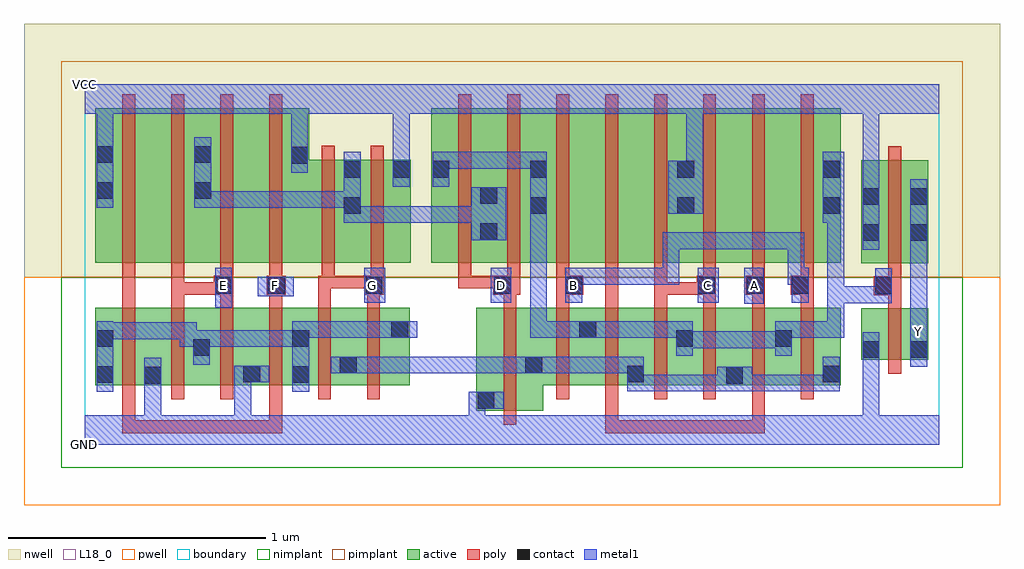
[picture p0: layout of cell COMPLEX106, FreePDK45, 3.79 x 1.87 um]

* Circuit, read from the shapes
.subckt COMPLEX106 A B C D E F G GND VCC Y
M1 GND F n1 VSUBS nfet w=0.3u l=0.05u m=2
M2 n1 E GND VSUBS nfet w=0.3u l=0.05u m=2
M3 n2 G n1 VSUBS nfet w=0.3u l=0.05u m=2
M4 n2 D GND VSUBS nfet w=0.4u l=0.05u
M5 n3 B n2 VSUBS nfet w=0.3u l=0.05u m=2
M6 n2 A n3 VSUBS nfet w=0.3u l=0.05u m=2
M7 n3 C n2 VSUBS nfet w=0.3u l=0.05u m=2
M8 Y n3 GND VSUBS nfet w=0.2u l=0.05u
M9 n4 F VCC n5 pfet w=0.6u l=0.05u
M10 n6 E n4 n5 pfet w=0.6u l=0.05u
M11 n7 E n6 n5 pfet w=0.6u l=0.05u
M12 VCC F n7 n5 pfet w=0.6u l=0.05u
M13 n6 G VCC n5 pfet w=0.4u l=0.05u m=2
M14 n6 D n3 n5 pfet w=0.6u l=0.05u m=2
M15 n8 B n3 n5 pfet w=0.6u l=0.05u
M16 n9 A n8 n5 pfet w=0.6u l=0.05u
M17 VCC C n9 n5 pfet w=0.6u l=0.05u
M18 n10 C VCC n5 pfet w=0.6u l=0.05u
M19 n11 A n10 n5 pfet w=0.6u l=0.05u
M20 n3 B n11 n5 pfet w=0.6u l=0.05u
M21 Y n3 VCC n5 pfet w=0.4u l=0.05u
.ends

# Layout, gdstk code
import gdstk
lib = gdstk.Library(unit=1e-6, precision=1e-09)
def R(c, l, rs):  # rectangles x0, y0, x1, y1
    for r in rs: c.add(gdstk.rectangle(r[:2], r[2:], *l))
def A(c, l, x, y, w, h, nx, ny, dx, dy):  # array of equal rectangles
    R(c, l, [(x+i*dx, y+j*dy, x+i*dx+w, y+j*dy+h) for i in range(nx) for j in range(ny)])
active = (1, 0)
pwell = (2, 0)
nwell = (3, 0)
nimplant = (4, 0)
pimplant = (5, 0)
poly = (9, 0)
contact = (10, 0)
metal1 = (11, 0)
L18_0 = (18, 0)
boundary = (235, 0)

complex106 = lib.new_cell('COMPLEX106')
R(complex106, active, [(1.522,0.132,1.782,0.532), (1.522,0.132,1.597,0.532), (1.707,0.2,1.782,0.405), (0.042,0.232,0.117,0.532), (0.042,0.232,0.302,0.532), (0.227,0.232,0.492,0.532), (0.227,0.232,0.302,0.437), (0.417,0.232,0.687,0.532), (0.417,0.232,0.492,0.517), (0.612,0.232,0.877,0.532), (0.612,0.232,0.687,0.437), (0.802,0.232,1.062,0.532), (0.987,0.232,1.262,0.532), (1.707,0.232,1.992,0.532), (1.917,0.232,2.177,0.532), (2.102,0.232,2.367,0.532), (2.102,0.232,2.177,0.437), (2.292,0.232,2.562,0.532), (2.487,0.232,2.752,0.532), (2.487,0.232,2.562,0.437), (2.677,0.232,2.937,0.532), (2.862,0.232,2.937,0.532), (0.802,0.235,0.877,0.45), (0.987,0.272,1.062,0.392), (1.187,0.295,1.262,0.532), (1.917,0.295,1.992,0.485), (2.292,0.295,2.367,0.517), (2.677,0.295,2.752,0.45), (3.017,0.33,3.277,0.53), (3.017,0.33,3.092,0.53), (3.202,0.332,3.277,0.53), (3.017,0.705,3.277,1.105), (3.017,0.705,3.092,1.105), (3.202,0.705,3.277,1.105), (0.042,0.707,0.267,1.307), (0.042,0.707,0.117,1.305), (0.267,0.707,0.497,1.307), (0.422,0.707,0.497,1.2), (0.422,0.707,0.647,1.307), (0.647,0.707,0.872,1.307), (0.797,0.707,1.077,1.107), (1.002,0.707,1.077,1.107), (1.002,0.707,1.267,1.107), (1.347,0.707,1.422,1.2), (1.347,0.707,1.607,1.307), (1.532,0.707,1.8,1.307), (1.532,0.707,1.607,1.07), (1.725,0.707,1.8,1.2), (1.725,0.707,1.952,1.307), (1.952,0.707,2.142,1.307), (2.142,0.707,2.372,1.307), (2.297,0.707,2.522,1.307), (2.297,0.707,2.372,1.305), (2.522,0.707,2.712,1.307), (2.712,0.707,2.937,1.307), (2.862,0.707,2.937,1.2), (1.192,0.722,1.267,1.107), (0.797,0.907,0.872,1.307)])
R(complex106, pwell, [(-0.235,-0.235,3.555,0.65)])
R(complex106, nwell, [(-0.235,0.65,3.555,1.635)])
R(complex106, nimplant, [(-0.09,-0.09,3.41,0.65)])
R(complex106, pimplant, [(-0.09,0.65,3.41,1.49)])
A(complex106, poly, 0.147, 0.177, 0.05, 0.41, 6, 1, 0.19, 0)
A(complex106, poly, 1.832, 0.177, 0.05, 0.41, 6, 1, 0.19, 0)
A(complex106, poly, 0.337, 0.537, 0.05, 0.095, 3, 1, 0.19, 0)
A(complex106, poly, 1.832, 0.537, 0.05, 0.095, 6, 1, 0.19, 0)
A(complex106, poly, 1.452, 0.607, 0.05, 0.095, 3, 1, 0.19, 0)
A(complex106, poly, 2.402, 0.607, 0.05, 0.095, 3, 1, 0.19, 0)
A(complex106, poly, 0.147, 0.652, 0.05, 0.71, 4, 1, 0.19, 0)
A(complex106, poly, 1.452, 0.652, 0.05, 0.71, 8, 1, 0.19, 0)
R(complex106, poly, [(0.147,0.045,0.197,0.227), (0.147,0.045,0.197,0.095), (0.147,0.045,0.197,0.095), (0.147,0.045,0.197,0.095), (0.147,0.045,0.387,0.095), (0.337,0.045,0.387,0.095), (0.337,0.045,0.387,0.095), (0.337,0.045,0.387,0.095), (0.337,0.045,0.52,0.095), (0.47,0.045,0.52,0.095), (0.47,0.045,0.52,0.095), (0.47,0.045,0.52,0.095), (0.47,0.045,0.767,0.095), (0.717,0.045,0.767,0.227), (0.717,0.045,0.767,0.095), (2.022,0.045,2.072,0.227), (2.022,0.045,2.072,0.095), (2.022,0.045,2.072,0.095), (2.022,0.045,2.072,0.095), (2.022,0.045,2.295,0.095), (2.245,0.045,2.295,0.095), (2.245,0.045,2.295,0.095), (2.245,0.045,2.295,0.095), (2.245,0.045,2.485,0.095), (2.435,0.045,2.485,0.095), (2.435,0.045,2.642,0.095), (2.592,0.045,2.642,0.227), (2.592,0.045,2.642,0.095), (2.592,0.045,2.642,0.095), (2.592,0.045,2.642,0.095), (1.627,0.077,1.677,0.587), (3.122,0.275,3.172,0.585), (3.122,0.535,3.172,0.63), (0.147,0.537,0.197,0.657), (0.907,0.537,0.957,0.657), (1.097,0.537,1.147,0.632), (1.627,0.537,1.677,0.632), (3.065,0.58,3.172,0.655), (0.337,0.582,0.387,0.632), (0.337,0.582,0.387,0.632), (0.337,0.582,0.387,0.632), (0.337,0.582,0.552,0.632), (0.337,0.582,0.387,0.702), (0.502,0.582,0.577,0.657), (0.707,0.582,0.782,0.657), (1.087,0.582,1.162,0.657), (1.587,0.582,1.692,0.657), (1.832,0.582,1.937,0.657), (2.022,0.582,2.072,0.632), (2.022,0.582,2.072,0.702), (2.212,0.582,2.262,0.632), (2.212,0.582,2.262,0.632), (2.212,0.582,2.262,0.632), (2.212,0.582,2.427,0.632), (2.212,0.582,2.262,0.702), (2.377,0.582,2.452,0.657), (2.567,0.582,2.642,0.657), (2.742,0.582,2.832,0.657), (3.122,0.605,3.172,0.7), (0.147,0.607,0.197,0.702), (0.147,0.607,0.197,0.657), (0.527,0.607,0.577,0.702), (0.717,0.607,0.767,0.702), (0.907,0.607,0.972,0.657), (0.922,0.607,0.972,0.702), (0.922,0.607,0.972,0.657), (0.922,0.607,0.972,0.657), (0.922,0.607,1.137,0.657), (1.112,0.607,1.162,0.702), (1.452,0.607,1.502,0.657), (1.452,0.607,1.502,0.657), (1.452,0.607,1.502,0.657), (1.452,0.607,1.637,0.657), (3.122,0.65,3.172,1.16), (0.922,0.652,0.972,1.162), (1.112,0.652,1.162,1.162)])
R(complex106, contact, [(1.527,0.14,1.592,0.205), (0.232,0.237,0.297,0.302), (2.492,0.237,2.557,0.302), (0.047,0.24,0.112,0.305), (0.807,0.24,0.872,0.305), (0.617,0.242,0.682,0.307), (2.107,0.242,2.172,0.307), (2.867,0.242,2.932,0.307), (0.992,0.277,1.057,0.342), (1.712,0.277,1.777,0.342), (3.022,0.337,3.087,0.402), (3.207,0.337,3.272,0.402), (0.422,0.345,0.487,0.41), (0.047,0.38,0.112,0.445), (0.807,0.38,0.872,0.445), (2.297,0.38,2.362,0.445), (2.682,0.38,2.747,0.445), (1.192,0.415,1.257,0.48), (1.922,0.415,1.987,0.48), (3.07,0.585,3.135,0.65), (0.507,0.587,0.572,0.652), (0.712,0.587,0.777,0.652), (1.092,0.587,1.157,0.652), (1.592,0.587,1.657,0.652), (1.867,0.587,1.932,0.652), (2.382,0.587,2.447,0.652), (2.572,0.587,2.637,0.652), (2.747,0.587,2.812,0.652), (3.022,0.792,3.087,0.857), (3.207,0.792,3.272,0.857), (1.537,0.795,1.602,0.86), (1.007,0.897,1.072,0.962), (1.73,0.897,1.795,0.962), (2.302,0.897,2.367,0.962), (2.867,0.897,2.932,0.962), (3.022,0.932,3.087,0.997), (3.207,0.932,3.272,0.997), (1.537,0.935,1.602,1), (0.047,0.955,0.112,1.02), (0.427,0.955,0.492,1.02), (1.007,1.037,1.072,1.102), (1.197,1.037,1.262,1.102), (1.352,1.037,1.417,1.102), (1.73,1.037,1.795,1.102), (2.302,1.037,2.367,1.102), (2.867,1.037,2.932,1.102), (0.802,1.092,0.867,1.157), (0.047,1.095,0.112,1.16), (0.427,1.095,0.492,1.16)])
R(complex106, metal1, [(0,0,3.32,0.115), (0.232,0.05,0.297,0.115), (0.232,0.05,0.297,0.115), (0.232,0.05,0.297,0.115), (0.232,0.05,0.297,0.115), (0.232,0.05,0.297,0.267), (0.582,0.05,0.647,0.115), (0.582,0.05,0.647,0.115), (0.582,0.05,0.647,0.307), (1.492,0.05,1.557,0.115), (1.492,0.05,1.557,0.115), (1.492,0.05,1.557,0.205), (3.022,0.05,3.087,0.367), (1.492,0.14,1.627,0.205), (0.232,0.202,0.297,0.337), (0.047,0.205,0.112,0.48), (0.807,0.205,0.872,0.48), (2.107,0.207,2.172,0.342), (2.107,0.207,2.31,0.272), (2.245,0.207,2.31,0.272), (2.245,0.207,2.31,0.272), (2.245,0.207,2.31,0.272), (2.245,0.207,2.447,0.272), (2.382,0.207,2.447,0.272), (2.382,0.207,2.522,0.272), (2.457,0.207,2.592,0.302), (2.527,0.207,2.592,0.272), (2.527,0.207,2.592,0.272), (2.527,0.207,2.795,0.272), (2.73,0.207,2.795,0.272), (2.73,0.207,2.795,0.272), (2.73,0.207,2.795,0.272), (2.73,0.207,2.932,0.272), (2.867,0.207,2.932,0.342), (0.582,0.242,0.647,0.307), (0.582,0.242,0.647,0.307), (0.582,0.242,0.717,0.307), (0.957,0.277,1.092,0.342), (1.027,0.277,1.28,0.342), (1.215,0.277,1.28,0.342), (1.215,0.277,1.28,0.342), (1.215,0.277,1.28,0.342), (1.215,0.277,1.417,0.342), (1.352,0.277,1.417,0.342), (1.352,0.277,1.417,0.342), (1.352,0.277,1.417,0.342), (1.352,0.277,1.605,0.342), (1.54,0.277,1.605,0.342), (1.54,0.277,1.605,0.342), (1.54,0.277,1.605,0.342), (1.54,0.277,1.742,0.342), (1.677,0.277,1.812,0.342), (1.747,0.277,1.812,0.342), (1.747,0.277,1.812,0.342), (1.747,0.277,1.95,0.342), (1.885,0.277,1.95,0.342), (1.885,0.277,2.09,0.342), (2.025,0.277,2.09,0.342), (2.025,0.277,2.172,0.342), (3.022,0.302,3.087,0.367), (3.022,0.302,3.087,0.367), (3.022,0.302,3.087,0.367), (3.022,0.302,3.087,0.367), (3.022,0.302,3.087,0.367), (3.022,0.302,3.087,0.367), (3.022,0.302,3.087,0.437), (3.207,0.302,3.272,0.437), (0.422,0.31,0.487,0.445), (2.297,0.345,2.362,0.48), (2.682,0.345,2.747,0.48), (3.207,0.372,3.272,0.437), (3.207,0.372,3.272,0.507), (2.297,0.375,2.447,0.44), (2.382,0.375,2.447,0.44), (2.382,0.375,2.6,0.44), (2.535,0.375,2.6,0.44), (2.535,0.375,2.6,0.44), (2.535,0.375,2.6,0.44), (2.535,0.375,2.747,0.44), (0.37,0.38,0.487,0.445), (0.37,0.38,0.435,0.475), (0.422,0.38,0.572,0.445), (0.507,0.38,0.572,0.445), (0.507,0.38,0.73,0.445), (0.665,0.38,0.73,0.445), (0.665,0.38,0.73,0.445), (0.665,0.38,0.73,0.445), (0.665,0.38,0.872,0.445), (0.047,0.41,0.112,0.475), (0.047,0.41,0.112,0.475), (0.047,0.41,0.35,0.475), (0.285,0.41,0.35,0.475), (0.285,0.41,0.435,0.475), (0.807,0.415,0.935,0.48), (0.87,0.415,0.935,0.48), (0.87,0.415,1.072,0.48), (1.007,0.415,1.072,0.48), (1.007,0.415,1.072,0.48), (1.007,0.415,1.072,0.48), (1.007,0.415,1.222,0.48), (1.157,0.415,1.292,0.48), (1.73,0.415,1.795,0.48), (1.73,0.415,1.795,0.48), (1.73,0.415,1.795,0.48), (1.73,0.415,1.952,0.48), (1.73,0.415,1.795,0.927), (1.887,0.415,1.952,0.48), (1.887,0.415,1.952,0.48), (1.887,0.415,2.022,0.48), (1.957,0.415,2.09,0.48), (2.025,0.415,2.09,0.48), (2.025,0.415,2.172,0.48), (2.107,0.415,2.172,0.48), (2.107,0.415,2.227,0.48), (2.162,0.415,2.227,0.48), (2.162,0.415,2.362,0.48), (2.682,0.415,2.775,0.48), (2.71,0.415,2.775,0.48), (2.71,0.415,2.95,0.48), (2.885,0.415,2.95,0.48), (2.885,0.415,2.95,0.615), (3.207,0.442,3.272,0.822), (0.507,0.532,0.572,0.687), (2.562,0.547,2.637,0.687), (2.885,0.55,2.95,0.615), (2.885,0.55,2.95,0.615), (2.885,0.55,2.95,0.615), (2.885,0.55,3.135,0.615), (2.885,0.55,2.95,0.927), (3.07,0.55,3.135,0.685), (1.087,0.552,1.167,0.687), (1.577,0.552,1.657,0.687), (1.867,0.552,1.932,0.687), (2.382,0.552,2.462,0.687), (2.747,0.552,2.812,0.687), (0.672,0.577,0.812,0.652), (1.867,0.622,1.95,0.687), (1.885,0.622,1.95,0.687), (1.885,0.622,2.09,0.687), (2.025,0.622,2.09,0.687), (2.025,0.622,2.16,0.687), (2.095,0.622,2.16,0.687), (2.095,0.622,2.31,0.687), (2.245,0.622,2.31,0.687), (2.245,0.622,2.31,0.687), (2.245,0.622,2.31,0.687), (2.245,0.622,2.31,0.825), (2.73,0.622,2.795,0.687), (2.73,0.622,2.812,0.687), (2.73,0.622,2.795,0.825), (3.022,0.757,3.087,1.032), (3.207,0.757,3.272,1.032), (2.245,0.76,2.31,0.825), (2.245,0.76,2.447,0.825), (2.382,0.76,2.447,0.825), (2.382,0.76,2.585,0.825), (2.52,0.76,2.585,0.825), (2.52,0.76,2.585,0.825), (2.52,0.76,2.585,0.825), (2.52,0.76,2.795,0.825), (2.73,0.76,2.795,0.825), (1.502,0.795,1.637,1), (1.007,0.862,1.072,1.137), (1.007,0.862,1.072,0.927), (1.007,0.862,1.072,0.927), (1.007,0.862,1.23,0.927), (1.165,0.862,1.23,0.927), (1.165,0.862,1.417,0.927), (1.352,0.862,1.417,0.927), (1.352,0.862,1.417,0.927), (1.352,0.862,1.417,0.927), (1.352,0.862,1.567,0.927), (1.73,0.862,1.795,1.137), (1.73,0.862,1.795,0.927), (1.73,0.862,1.795,0.927), (2.867,0.862,2.95,1.137), (2.267,0.897,2.402,1.102), (0.047,0.92,0.112,1.195), (0.427,0.92,0.492,1.195), (0.427,0.92,0.592,0.985), (0.527,0.92,0.592,0.985), (0.527,0.92,0.73,0.985), (0.665,0.92,0.73,0.985), (0.665,0.92,0.73,0.985), (0.665,0.92,0.73,0.985), (0.665,0.92,0.885,0.985), (0.82,0.92,0.885,0.985), (0.82,0.92,0.885,0.985), (0.82,0.92,0.885,0.985), (0.82,0.92,1.072,0.985), (3.022,0.967,3.087,1.032), (3.022,0.967,3.087,1.032), (3.022,0.967,3.087,1.35), (1.197,1.002,1.262,1.137), (1.352,1.002,1.417,1.137), (2.337,1.037,2.402,1.35), (0.802,1.057,0.867,1.192), (1.197,1.072,1.262,1.137), (1.197,1.072,1.262,1.137), (1.197,1.072,1.262,1.35), (1.352,1.072,1.417,1.137), (1.352,1.072,1.417,1.137), (1.352,1.072,1.555,1.137), (1.49,1.072,1.555,1.137), (1.49,1.072,1.555,1.137), (1.49,1.072,1.555,1.137), (1.49,1.072,1.795,1.137), (0.802,1.127,0.867,1.35), (0.047,1.13,0.112,1.35), (0,1.285,3.32,1.4)])
R(complex106, L18_0, [(0,0,3.32,0.115), (0.232,0.05,0.297,0.115), (0.232,0.05,0.297,0.115), (0.232,0.05,0.297,0.115), (0.232,0.05,0.297,0.115), (0.232,0.05,0.297,0.267), (0.582,0.05,0.647,0.115), (0.582,0.05,0.647,0.115), (0.582,0.05,0.647,0.307), (1.492,0.05,1.557,0.115), (1.492,0.05,1.557,0.115), (1.492,0.05,1.557,0.205), (3.022,0.05,3.087,0.367), (1.492,0.14,1.627,0.205), (0.232,0.202,0.297,0.337), (0.582,0.242,0.647,0.307), (0.582,0.242,0.647,0.307), (0.582,0.242,0.717,0.307), (3.022,0.302,3.087,0.367), (3.022,0.302,3.087,0.367), (3.022,0.302,3.087,0.367), (3.022,0.302,3.087,0.367), (3.022,0.302,3.087,0.367), (3.022,0.302,3.087,0.367), (3.022,0.302,3.087,0.437), (3.207,0.302,3.272,0.437), (3.207,0.372,3.272,0.437), (3.207,0.372,3.272,0.507), (3.207,0.407,3.272,0.472), (3.207,0.442,3.272,0.822), (0.507,0.532,0.572,0.687), (2.562,0.547,2.637,0.687), (1.087,0.552,1.167,0.687), (1.577,0.552,1.657,0.687), (1.867,0.552,1.932,0.687), (2.382,0.552,2.462,0.687), (2.747,0.552,2.812,0.687), (0.672,0.577,0.812,0.652), (0.507,0.587,0.572,0.652), (0.707,0.587,0.772,0.652), (1.087,0.587,1.152,0.652), (1.587,0.587,1.652,0.652), (1.867,0.587,1.932,0.652), (2.387,0.587,2.452,0.652), (2.567,0.587,2.632,0.652), (1.867,0.622,1.95,0.687), (1.885,0.622,1.95,0.687), (1.885,0.622,2.09,0.687), (2.025,0.622,2.09,0.687), (2.025,0.622,2.16,0.687), (2.095,0.622,2.16,0.687), (2.095,0.622,2.31,0.687), (2.245,0.622,2.31,0.687), (2.245,0.622,2.31,0.687), (2.245,0.622,2.31,0.687), (2.245,0.622,2.31,0.825), (2.73,0.622,2.795,0.687), (2.73,0.622,2.795,0.825), (2.73,0.622,2.812,0.687), (3.022,0.757,3.087,1.032), (3.207,0.757,3.272,1.032), (2.245,0.76,2.31,0.825), (2.245,0.76,2.447,0.825), (2.382,0.76,2.447,0.825), (2.382,0.76,2.585,0.825), (2.52,0.76,2.585,0.825), (2.52,0.76,2.585,0.825), (2.52,0.76,2.585,0.825), (2.52,0.76,2.795,0.825), (2.73,0.76,2.795,0.825), (2.267,0.897,2.402,1.102), (0.047,0.92,0.112,1.195), (3.022,0.967,3.087,1.032), (3.022,0.967,3.087,1.032), (3.022,0.967,3.087,1.35), (1.197,1.002,1.262,1.137), (2.337,1.037,2.402,1.35), (0.802,1.057,0.867,1.192), (1.197,1.072,1.262,1.137), (1.197,1.072,1.262,1.137), (1.197,1.072,1.262,1.35), (0.802,1.127,0.867,1.35), (0.047,1.13,0.112,1.35), (0,1.285,3.32,1.4)])
R(complex106, boundary, [(0,0,3.32,1.4)])
complex106.add(gdstk.Label('A', (2.6,0.62), layer=11, texttype=0))
complex106.add(gdstk.Label('B', (1.9,0.62), layer=11, texttype=0))
complex106.add(gdstk.Label('C', (2.42,0.62), layer=11, texttype=0))
complex106.add(gdstk.Label('D', (1.62,0.62), layer=11, texttype=0))
complex106.add(gdstk.Label('E', (0.54,0.62), layer=11, texttype=0))
complex106.add(gdstk.Label('F', (0.74,0.62), layer=11, texttype=0))
complex106.add(gdstk.Label('G', (1.12,0.62), layer=11, texttype=0))
complex106.add(gdstk.Label('Y', (3.24,0.44), layer=11, texttype=0))
complex106.add(gdstk.Label('VCC', (0,1.4), layer=11, texttype=0))
complex106.add(gdstk.Label('GND', (0,0), layer=11, texttype=0))

lib.write_gds('COMPLEX106.gds')
